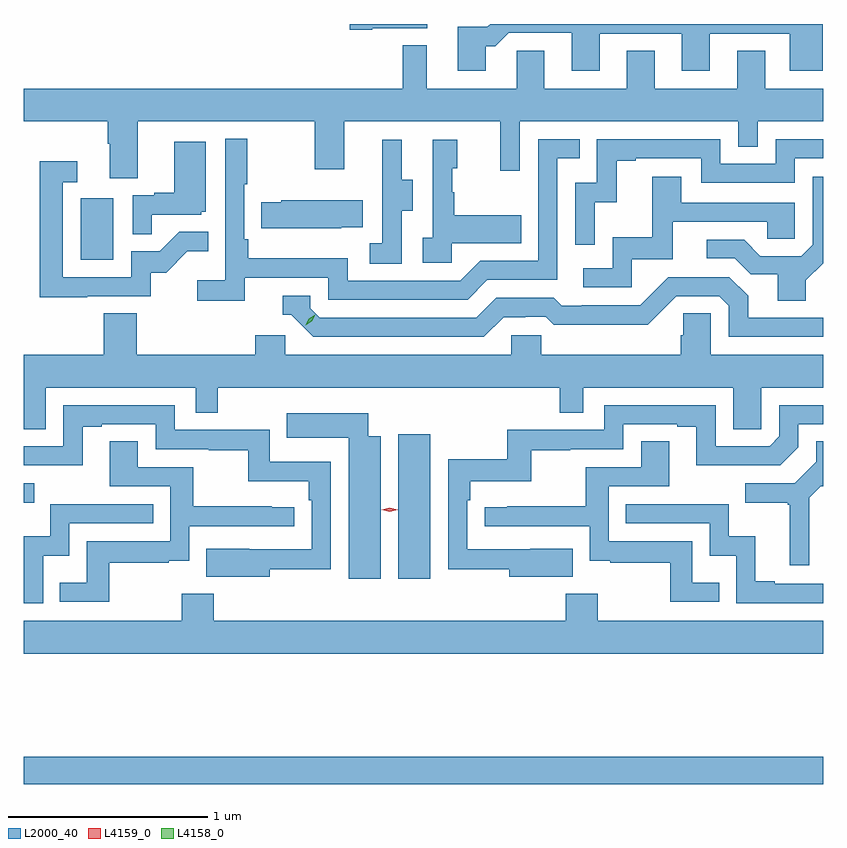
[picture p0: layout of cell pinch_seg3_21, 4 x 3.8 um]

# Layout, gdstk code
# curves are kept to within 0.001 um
import gdstk
lib = gdstk.Library(unit=1e-6, precision=1e-09)
def R(c, l, rs):  # rectangles x0, y0, x1, y1
    for r in rs: c.add(gdstk.rectangle(r[:2], r[2:], *l))
def P(c, l, *ps):  # polygons
    for p in ps: c.add(gdstk.Polygon(p, *l))
L2000_40 = (2000, 40)
L4158_0 = (4158, 0)
L4159_0 = (4159, 0)

pinch_seg3_21 = lib.new_cell('pinch_seg3_21')
R(pinch_seg3_21, L2000_40, [(1117.86,730.9,1121.86,731.036), (1119.734,731.928,1119.895,732.649), (1117.86,732.308,1117.912,732.405), (1118.144,733.524,1118.308,733.831)])
P(pinch_seg3_21, L2000_40, [(1119.604,734.681),(1119.88,734.681),(1119.88,734.703),(1119.492,734.703),(1119.492,734.674),(1119.604,734.674)],
  [(1120.171,734.591),(1120.22,734.591),(1120.287,734.658),(1120.601,734.658),(1120.601,734.469),(1120.741,734.469),(1120.741,734.655),(1121.153,734.655),(1121.153,734.469),(1121.293,734.469),(1121.293,734.655),(1121.693,734.655),(1121.693,734.469),(1121.858,734.469),(1121.858,734.703),(1120.194,734.703),(1120.18,734.689),(1120.031,734.689),(1120.031,734.469),(1120.171,734.469)],
  [(1120.244,733.968),(1120.341,733.968),(1120.341,734.216),(1121.436,734.216),(1121.436,734.089),(1121.532,734.089),(1121.532,734.216),(1121.86,734.216),(1121.86,734.38),(1121.569,734.38),(1121.569,734.57),(1121.429,734.57),(1121.429,734.38),(1121.017,734.38),(1121.017,734.57),(1120.877,734.57),(1120.877,734.38),(1120.465,734.38),(1120.465,734.57),(1120.326,734.57),(1120.326,734.38),(1119.877,734.38),(1119.877,734.596),(1119.756,734.596),(1119.756,734.38),(1117.86,734.38),(1117.86,734.216),(1118.279,734.216),(1118.279,734.104),(1118.291,734.104),(1118.291,733.93),(1118.431,733.93),(1118.431,734.216),(1119.316,734.216),(1119.316,733.977),(1119.463,733.977),(1119.463,734.216),(1120.244,734.216)],
  [(1118.966,733.434),(1119.384,733.434),(1119.384,733.323),(1120.081,733.323),(1120.18,733.422),(1120.53,733.422),(1120.53,734.031),(1120.643,734.031),(1120.643,734.127),(1120.434,734.127),(1120.434,733.518),(1120.143,733.518),(1120.044,733.419),(1119.48,733.419),(1119.48,733.531),(1118.984,733.531),(1118.984,733.627),(1118.964,733.627),(1118.964,733.9),(1118.977,733.9),(1118.977,734.128),(1118.868,734.128),(1118.868,733.42),(1118.727,733.42),(1118.727,733.318),(1118.966,733.318)],
  [(1120.716,733.811),(1120.826,733.811),(1120.826,734.019),(1120.921,734.019),(1120.921,734.031),(1121.25,734.031),(1121.25,733.908),(1121.718,733.908),(1121.718,734.031),(1121.86,734.031),(1121.86,734.127),(1121.622,734.127),(1121.622,734.004),(1121.346,734.004),(1121.346,734.127),(1120.728,734.127),(1120.728,733.908),(1120.62,733.908),(1120.62,733.599),(1120.716,733.599)],
  [(1120.002,733.607),(1120.349,733.607),(1120.349,733.747),(1120.015,733.747),(1120.015,733.862),(1120.005,733.862),(1120.005,733.98),(1120.03,733.98),(1120.03,734.125),(1119.906,734.125),(1119.906,733.634),(1119.855,733.634),(1119.855,733.509),(1120.002,733.509)],
  [(1119.75,733.768),(1119.805,733.768),(1119.805,733.923),(1119.751,733.923),(1119.751,734.125),(1119.653,734.125),(1119.653,733.911),(1119.654,733.911),(1119.654,733.607),(1119.591,733.607),(1119.591,733.504),(1119.75,733.504)],
  [(1118.501,733.749),(1118.748,733.749),(1118.748,733.764),(1118.77,733.764),(1118.77,734.113),(1118.612,734.113),(1118.612,733.858),(1118.513,733.858),(1118.513,733.845),(1118.406,733.845),(1118.406,733.651),(1118.501,733.651)],
  [(1118.177,733.341),(1118.496,733.341),(1118.496,733.458),(1118.572,733.458),(1118.679,733.565),(1118.783,733.565),(1118.783,733.664),(1118.639,733.664),(1118.541,733.566),(1118.397,733.566),(1118.397,733.437),(1118.055,733.437),(1118.055,733.911),(1118.128,733.911),(1118.128,734.017),(1117.939,734.017),(1117.939,733.336),(1118.177,733.336)],
  [(1120.902,733.527),(1121.107,733.527),(1121.107,733.713),(1121.581,733.713),(1121.581,733.629),(1121.718,733.629),(1121.718,733.809),(1121.149,733.809),(1121.149,733.939),(1121.005,733.939),(1121.005,733.636),(1120.806,733.636),(1120.806,733.482),(1120.659,733.482),(1120.659,733.386),(1120.902,733.386)],
  [(1121.773,733.42),(1121.86,733.507),(1121.86,733.939),(1121.808,733.939),(1121.808,733.599),(1121.751,733.542),(1121.545,733.542),(1121.464,733.623),(1121.277,733.623),(1121.277,733.53),(1121.418,733.53),(1121.498,733.45),(1121.633,733.45),(1121.633,733.318),(1121.773,733.318)],
  [(1119.449,733.685),(1119.557,733.685),(1119.557,733.822),(1119.147,733.822),(1119.147,733.812),(1119.049,733.812),(1119.049,733.682),(1119.449,733.682)],
  [(1120.261,733.236),(1120.368,733.236),(1120.368,733.239),(1120.471,733.239),(1120.513,733.197),(1120.746,733.197),(1120.746,733.199),(1120.982,733.199),(1121.124,733.341),(1121.34,733.341),(1121.388,733.293),(1121.388,733.137),(1121.86,733.137),(1121.86,733.233),(1121.485,733.233),(1121.485,733.343),(1121.391,733.437),(1121.085,733.437),(1120.944,733.296),(1120.651,733.296),(1120.651,733.293),(1120.552,733.293),(1120.513,733.332),(1120.224,733.332),(1120.125,733.233),(1119.342,733.233),(1119.294,733.281),(1119.294,733.344),(1119.155,733.344),(1119.155,733.248),(1119.198,733.248),(1119.309,733.137),(1120.162,733.137)],
  [(1118.721,732.757),(1118.83,732.757),(1118.83,732.884),(1120.543,732.884),(1120.543,732.757),(1120.659,732.757),(1120.659,732.884),(1121.411,732.884),(1121.411,732.676),(1121.55,732.676),(1121.55,732.884),(1121.86,732.884),(1121.86,733.048),(1121.298,733.048),(1121.298,733.256),(1121.161,733.256),(1121.161,733.146),(1121.147,733.146),(1121.147,733.048),(1120.449,733.048),(1120.449,733.146),(1120.299,733.146),(1120.299,733.048),(1119.168,733.048),(1119.168,733.146),(1119.017,733.146),(1119.017,733.048),(1118.426,733.048),(1118.426,733.256),(1118.261,733.256),(1118.261,733.048),(1117.86,733.048),(1117.86,732.676),(1117.969,732.676),(1117.969,732.884),(1118.721,732.884)],
  [(1120.607,732.076),(1120.08,732.075),(1120.08,732.32),(1120.094,732.32),(1120.094,732.416),(1120.399,732.416),(1120.399,732.571),(1120.595,732.571),(1120.595,732.576),(1120.86,732.576),(1120.86,732.699),(1121.129,732.699),(1121.129,732.687),(1121.225,732.687),(1121.225,732.494),(1121.646,732.495),(1121.736,732.585),(1121.736,732.699),(1121.86,732.699),(1121.86,732.795),(1121.64,732.795),(1121.64,732.639),(1121.592,732.591),(1121.322,732.591),(1121.322,732.795),(1120.764,732.795),(1120.764,732.672),(1120.278,732.672),(1120.278,732.526),(1119.984,732.526),(1119.984,731.974),(1120.289,731.974),(1120.289,731.936),(1120.607,731.936)],
  [(1119.091,731.974),(1119.396,731.974),(1119.396,732.513),(1119.09,732.513),(1119.09,732.672),(1118.616,732.672),(1118.616,732.795),(1118.058,732.795),(1118.058,732.591),(1117.86,732.591),(1117.86,732.495),(1117.95,732.495),(1117.95,732.494),(1118.155,732.494),(1118.155,732.687),(1118.251,732.687),(1118.251,732.699),(1118.52,732.699),(1118.52,732.576),(1118.785,732.576),(1118.785,732.571),(1118.982,732.571),(1118.982,732.416),(1119.287,732.416),(1119.287,732.32),(1119.3,732.32),(1119.3,732.075),(1118.987,732.075),(1118.987,732.076),(1118.773,732.076),(1118.773,731.936),(1119.091,731.936)],
  [(1119.646,732.64),(1119.583,732.64),(1119.583,732.754),(1119.175,732.754),(1119.175,732.632),(1119.485,732.632),(1119.485,731.928),(1119.646,731.928)],
  [(1121.79,732.333),(1121.847,732.39),(1121.86,732.39),(1121.86,732.614),(1121.825,732.614),(1121.825,732.512),(1121.718,732.405),(1121.469,732.405),(1121.469,732.308),(1121.682,732.308),(1121.682,732.297),(1121.693,732.297),(1121.693,731.994),(1121.79,731.994)],
  [(1121.339,731.908),(1121.205,731.908),(1121.205,732.114),(1120.788,732.114),(1120.788,732.39),(1121.089,732.39),(1121.089,732.614),(1120.949,732.614),(1120.949,732.486),(1120.672,732.486),(1120.672,732.29),(1120.279,732.29),(1120.279,732.285),(1120.167,732.285),(1120.167,732.189),(1120.692,732.189),(1120.692,732.017),(1120.795,732.017),(1120.795,732.006),(1121.094,732.006),(1121.094,731.811),(1121.339,731.811)],
  [(1118.287,732.006),(1118.585,732.006),(1118.585,732.017),(1118.688,732.017),(1118.688,732.189),(1119.214,732.189),(1119.214,732.285),(1119.101,732.285),(1119.101,732.29),(1118.708,732.29),(1118.708,732.486),(1118.431,732.486),(1118.431,732.614),(1118.291,732.614),(1118.291,732.39),(1118.592,732.39),(1118.592,732.114),(1118.176,732.114),(1118.176,731.908),(1118.041,731.908),(1118.041,731.811),(1118.287,731.811)],
  [(1117.956,732.041),(1118.088,732.041),(1118.088,732.204),(1118.507,732.204),(1118.507,732.3),(1117.992,732.3),(1117.992,732.139),(1117.86,732.139),(1117.86,731.805),(1117.956,731.805)],
  [(1121.86,731.901),(1121.617,731.901),(1121.617,731.914),(1121.521,731.914),(1121.521,732.139),(1121.388,732.139),(1121.388,732.3),(1120.873,732.3),(1120.873,732.204),(1121.292,732.204),(1121.292,732.041),(1121.424,732.041),(1121.424,731.805),(1121.86,731.805)],
  [(1121.86,731.716),(1120.731,731.716),(1120.731,731.851),(1120.571,731.851),(1120.571,731.716),(1118.81,731.716),(1118.81,731.851),(1118.65,731.851),(1118.65,731.716),(1117.86,731.716),(1117.86,731.552),(1121.86,731.552)])
P(pinch_seg3_21, L4158_0, [(1119.271,733.195),(1119.271,733.195),(1119.287,733.228),(1119.318,733.248),(1119.318,733.248),(1119.318,733.247),(1119.302,733.215),(1119.271,733.195)])
P(pinch_seg3_21, L4159_0, [(1119.69,732.262),(1119.65,732.272),(1119.65,732.272),(1119.65,732.272),(1119.69,732.282),(1119.73,732.272),(1119.73,732.272),(1119.73,732.272)])

lib.write_gds('pinch_seg3_21.gds')
